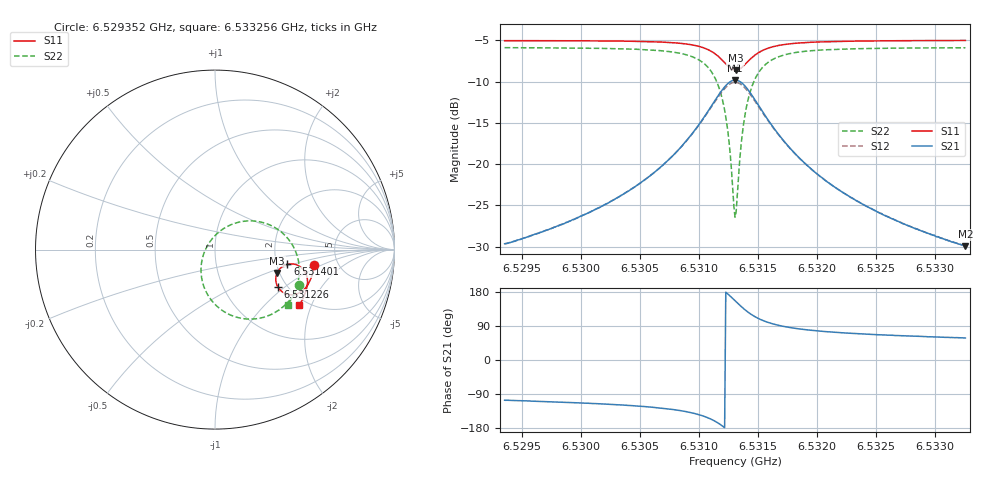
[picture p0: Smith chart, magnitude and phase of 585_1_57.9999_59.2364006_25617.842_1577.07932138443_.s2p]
#  HZ  S  RI  R  50.00
! Rohde & Schwarz Vector Network Analyzer
! Rohde-Schwarz,ZNB20-2Port,1311601062101988,3.16
! Created: UTC 3/21/2024, 1:16:28 AM
! freq[Hz]  re:S11  im:S11  re:S21  im:S21  re:S12  im:S12  re:S22  im:S22
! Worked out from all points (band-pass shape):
!   401 points, 6.529352 GHz to 6.533256 GHz, reference 50 ohm
!   highest |S21| = -9.81 dB at 6.531304 GHz (marker M1); lowest = -30.0 dB at 6.533256 GHz (marker M2)
!   |S21| within 3 dB of the highest: 6.53111 GHz to 6.5315 GHz (389.7 kHz wide, 0.00597 % of centre)
!   lowest |S11| = -8.6 dB at 6.531313 GHz (marker M3), VSWR 2.17, Z = 97.1 - j29.3 ohm
!   |S11| at or under -10 dB: nowhere
!   |S22| runs from -26.4 to -5.9 dB; largest |S21 - S12| = 0.013
!   S11 on the Smith chart (normalised r, x): 6.529352 GHz: 3.33, -0.81; 6.531226 GHz: 1.79, -0.89; 6.531401 GHz: 2.29, -0.45; 6.533256 GHz: 1.82, -1.64
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6.5293518e9  0.5543 -0.0837  -0.00913 -0.0316  -0.00968 -0.0312  0.4697 -0.1948
6.5300057e9  0.5421 -0.1383  -0.0194 -0.0445  -0.0204 -0.044  0.4359 -0.2555
6.5303766e9  0.5291 -0.1734  -0.0329 -0.0584  -0.0343 -0.0576  0.4003 -0.2991
6.5306596e9  0.5113 -0.2046  -0.0557 -0.0758  -0.0578 -0.0742  0.349 -0.3416
6.5308841e9  0.4823 -0.2336  -0.0979 -0.0949  -0.1007 -0.0914  0.2641 -0.3789
6.5310598e9  0.4322 -0.2518  -0.1757 -0.0986  -0.1775 -0.091  0.1226 -0.3772
6.5311573e9  0.384 -0.2412  -0.2498 -0.0634  -0.2477 -0.0531  0.000451 -0.3053
6.5311964e9  0.3628 -0.2251  -0.2809 -0.0296  -0.2756 -0.019  -0.0455 -0.2428
6.5312257e9  0.3494 -0.2067  -0.2993 0.00598  -0.2915 0.0158  -0.0698 -0.1803
6.5312549e9  0.3405 -0.1834  -0.3092 0.0492  -0.299 0.0573  -0.0781 -0.1074
6.531294e9  0.3405 -0.1477  -0.3024 0.113  -0.2904 0.1168  -0.0556 -0.00478
6.5313037e9  0.3427 -0.1388  -0.2968 0.1283  -0.2847 0.1313  -0.0436 0.0194
6.5313135e9  0.3461 -0.1301  -0.2896 0.1433  -0.2775 0.1451  -0.0294 0.0424
6.5313623e9  0.3739 -0.0958  -0.236 0.2018  -0.2262 0.1993  0.068 0.1286
6.5314013e9  0.403 -0.0821  -0.1837 0.2247  -0.1767 0.2207  0.1578 0.1576
6.5314697e9  0.4489 -0.0828  -0.104 0.2244  -0.1006 0.2209  0.2906 0.1433
6.5315672e9  0.4881 -0.1068  -0.0366 0.1895  -0.0351 0.1876  0.3991 0.0698
6.5317136e9  0.5103 -0.1446  0.00297 0.1391  0.0042 0.1384  0.4569 -0.0313
6.5319576e9  0.5153 -0.1888  0.0189 0.0903  0.02 0.0901  0.4698 -0.132
6.5322602e9  0.5082 -0.226  0.0211 0.0609  0.0219 0.0605  0.4576 -0.2003
6.5326115e9  0.4963 -0.2589  0.0197 0.0432  0.0205 0.0428  0.439 -0.2489
6.5332556e9  0.4707 -0.3078  0.0168 0.027  0.0175 0.0268  0.4041 -0.3076
